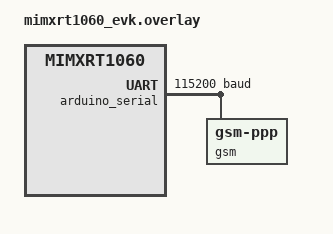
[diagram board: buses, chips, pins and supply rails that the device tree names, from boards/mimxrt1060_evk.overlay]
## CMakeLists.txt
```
#-------------------------------------------------------------------------------
# Zephyr Telemetry System Application
#
# Copyright (c) 2022-2024 Natalia Pluta
# SPDX-License-Identifier: Apache-2.0

cmake_minimum_required(VERSION 3.20.0)
find_package(Zephyr REQUIRED HINTS $ENV{ZEPHYR_BASE})

project(app LANGUAGES C VERSION 1.0.0)

set(BOARD_FLASH_RUNNER jlink)

configure_file(app_version.h.in ${CMAKE_BINARY_DIR}/app/include/app_version.h)
target_include_directories(app PRIVATE ${CMAKE_BINARY_DIR}/app/include src)

target_sources(app PRIVATE src/main.c
                           src/can_threads.c src/can_threads.h
                           src/sd_threads.c src/sd_threads.h
                           src/mqtt_threads.c src/mqtt_threads.h)
```

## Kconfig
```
# Private config options for telemetry-system app

# Copyright (c) 2022-2024 Natalia Pluta
# SPDX-License-Identifier: Apache-2.0

mainmenu "Telemetry System"

menu "MQTT Configuration"

config MQTT_MAX_ITERATIONS
	int "Number of times to Publish sample MQTT messages"
	default 500
	help
	  Send sample MQTT messages this many times in a MQTT connection
	  before exiting. A value of zero means that the messages are sent
	  forever.

config MQTT_MAX_CONNECTIONS
	int "Number of times to connect to the MQTT server"
	default 0
	help
	  Number of times to connect to the MQTT server. With each connection
	  send MQTT_MAX_ITERATIONS amount of MQTT sample messages.
	  A value of zero means to continue forever.

endmenu

source "Kconfig.zephyr"
```

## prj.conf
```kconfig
# Copyright (c) 2022-2024 Natalia Pluta
# SPDX-License-Identifier: Apache-2.0

CONFIG_LOG=y
CONFIG_LOG_BUFFER_SIZE=2048

CONFIG_POLL=y
CONFIG_CAN=y
CONFIG_CAN_INIT_PRIORITY=80
CONFIG_CAN_MAX_FILTER=5

CONFIG_GPIO=y
CONFIG_STATS=y
CONFIG_STATS_NAMES=y
CONFIG_STATS_SHELL=y
CONFIG_CAN_STATS=y

CONFIG_DISK_ACCESS=y
CONFIG_FILE_SYSTEM=y
CONFIG_FAT_FILESYSTEM_ELM=y
CONFIG_MAIN_STACK_SIZE=2048

# C Library
# Default use minimal libc and with COMMON_LIBC_MALLOC_ARENA_SIZE defining
# HEAP size (512 bytes) are enough to run DNS.
CONFIG_COMMON_LIBC_MALLOC_ARENA_SIZE=4096

# Networking config
CONFIG_NETWORKING=y
CONFIG_NET_SOCKETS=y
CONFIG_NET_TCP=y
CONFIG_NET_LOG=y

CONFIG_NET_IPV6_RA_RDNSS=y
CONFIG_NET_IF_UNICAST_IPV6_ADDR_COUNT=3
CONFIG_NET_IF_MCAST_IPV6_ADDR_COUNT=2

CONFIG_PRINTK=y
CONFIG_STDOUT_CONSOLE=y
CONFIG_POSIX_API=y

# Enable IPv6 support
CONFIG_NET_IPV6=n
# Enable IPv4 support
CONFIG_NET_IPV4=y

# Enable the MQTT Lib
CONFIG_MQTT_LIB=y

CONFIG_NET_CONFIG_SETTINGS=y
CONFIG_NET_CONFIG_MY_IPV6_ADDR="2001:db8::1"
CONFIG_NET_CONFIG_PEER_IPV6_ADDR="2001:db8::2"

CONFIG_NET_CONFIG_MY_IPV4_ADDR="192.168.0.23"
CONFIG_NET_CONFIG_PEER_IPV4_ADDR="192.168.0.14"

CONFIG_MAIN_STACK_SIZE=2048

# For IPv6
CONFIG_NET_BUF_DATA_SIZE=256

CONFIG_NET_SHELL=y

CONFIG_ENTROPY_GENERATOR=y
CONFIG_TEST_RANDOM_GENERATOR=y
```

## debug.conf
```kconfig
# Copyright (c) 2022-2024 Natalia Pluta
# SPDX-License-Identifier: Apache-2.0

# Private config which can be used to enable debug-related options 
# for telemetry-system app.

# compiler
CONFIG_DEBUG_OPTIMIZATIONS=y

# console
CONFIG_CONSOLE=y

# UART console
CONFIG_SERIAL=y
CONFIG_UART_CONSOLE=y

# logging
CONFIG_LOG=y
CONFIG_APP_LOG_LEVEL_DBG=y
```

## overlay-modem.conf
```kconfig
# Copyright (c) 2022-2024 Natalia Pluta
# SPDX-License-Identifier: Apache-2.0

# UART support
CONFIG_SERIAL=y

# GSM modem support
CONFIG_MODEM=y
CONFIG_MODEM_SHELL=y
CONFIG_MODEM_CMD_HANDLER_MAX_PARAM_COUNT=20
CONFIG_MODEM_GSM_PPP=y
CONFIG_MODEM_GSM_RX_STACK_SIZE=1024
CONFIG_MODEM_GSM_APN="internet"

# Network management events
CONFIG_NET_CONNECTION_MANAGER=y

# PPP networking support
CONFIG_NET_NATIVE=y
CONFIG_NET_DRIVERS=y
CONFIG_NET_PPP=y
CONFIG_NET_L2_PPP=y
CONFIG_NET_L2_PPP_TIMEOUT=10000

CONFIG_DNS_RESOLVER_MAX_SERVERS=1
CONFIG_DNS_SERVER_IP_ADDRESSES=y
CONFIG_DNS_SERVER1="8.8.8.8"
```

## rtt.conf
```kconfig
# Copyright (c) 2022-2024 Natalia Pluta
# SPDX-License-Identifier: Apache-2.0

# segger RTT console
CONFIG_USE_SEGGER_RTT=y
CONFIG_RTT_CONSOLE=y
```

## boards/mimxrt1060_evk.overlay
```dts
/*
 * Copyright (c) 2022-2023 Natalia Pluta
 *
 * SPDX-License-Identifier: Apache-2.0
 */

 &arduino_serial {
	status = "okay";
	current-speed = < 115200 >;

	gsm: gsm_mode {
		compatible = "zephyr,gsm-ppp";
	};
};

&enet{
	status = "disabled";
};
```

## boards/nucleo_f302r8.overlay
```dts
/*
 * Copyright (c) 2021 Nordic Semiconductor ASA
 * SPDX-License-Identifier: Apache-2.0
 */

/* This devicetree overlay file will be automatically picked by the Zephyr
 * build system when building the sample for the nucleo_f302r8 board. It shows
 * how the obd2-logger can be built on sample boards already provided
 * by Zephyr.
 */

/ {
	examplesensor0: examplesensor_0 {
		compatible = "zephyr,examplesensor";
		input-gpios = <&gpioc 13 (GPIO_PULL_UP | GPIO_ACTIVE_LOW)>;
	};
};

&gpioc {
	status = "okay";
};
```

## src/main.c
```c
/*
 * Copyright (c) 2022-2024 Natalia Pluta
 *
 * SPDX-License-Identifier: Apache-2.0
 */

/**
 * @file main.c
 * @brief Main function
 */

#include <stdio.h>
#include <zephyr/kernel.h>
#include <zephyr/device.h>
#include <zephyr/drivers/can.h>
#include "can_threads.h"
#include "sd_threads.h"
#include "mqtt_threads.h"

#define SLEEP_TIME K_MSEC(250)

extern const struct device *const can_dev;

int main(void)
{
    sd_disk_init();
    sd_threads_init();

    can_init(can_dev);
    can_threads_init();

    mqtt_threads_init();

    while (1)
    {
        k_sleep(SLEEP_TIME);
    }

    return 0;
}
```

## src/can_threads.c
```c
/*
 * Copyright (c) 2022-2024 Natalia Pluta
 *
 * SPDX-License-Identifier: Apache-2.0
 */

/**
 * @file can_threads.c
 * @brief Can related threads
 */
#include <zephyr/logging/log.h>
LOG_MODULE_REGISTER(can_threads, LOG_LEVEL_DBG);

#include <stdio.h>
#include <zephyr/kernel.h>
#include <zephyr/device.h>
#include <zephyr/drivers/can.h>
#include <zephyr/drivers/gpio.h>
#include <zephyr/sys/byteorder.h>

#include "can_threads.h"

#define CAN_THREAD_SLEEP_MS K_MSEC(200)

#define RX_THREAD_STACK_SIZE 512
#define RX_THREAD_PRIORITY   2

#define TX_THREAD_STACK_SIZE 512
#define TX_THREAD_PRIORITY   2

#define CAN_STATE_THREAD_STACK_SIZE 512
#define CAN_STATE_THREAD_PRIORITY   2

#define ALL_CAN_MSG_MASK 0x00
#define ALL_CAN_MSG_ID   0x00

#define SERVICE_RESPONE_OFFSET 0x40

#define BITRATE_125K        125000
#define SAMPLING_POINT_87_5 875

#define DATA_SUPPORTED_PIDS             6
#define TEST_RES_NON_CAN_SUPPORTED_PIDS 1
#define VEHICLE_INFO_SUPPORTED_PIDS     1
#define REQUEST_SUPPORTED_PIDS_ATTEMPTS 3

K_THREAD_STACK_DEFINE(rx_thread_stack, RX_THREAD_STACK_SIZE);
K_THREAD_STACK_DEFINE(tx_thread_stack, TX_THREAD_STACK_SIZE);
K_THREAD_STACK_DEFINE(can_state_stack, CAN_STATE_THREAD_STACK_SIZE);

struct k_thread rx_thread_data;
struct k_thread tx_thread_data;
struct k_thread can_state_thread_data;
struct k_work   state_change_work;
struct k_mutex  supp_pids_finished_mutex;

k_tid_t rx_tid;
k_tid_t tx_tid;
k_tid_t can_state_tid;

const struct device *const can_dev = DEVICE_DT_GET(DT_CHOSEN(zephyr_canbus));

enum can_state         current_state;
struct can_bus_err_cnt current_err_cnt;

bool m_rx_supported_pids_finished = false;
bool m_tx_supported_pids_finished = false;

CAN_MSGQ_DEFINE(can_msgq, 10);
extern struct k_msgq sd_msgq;

/**
 * It prints the contents of a CAN frame to the console
 *
 * @param frame The CAN frame to print
 */
void can_frame_print(struct can_frame *frame)
{
    LOG_INF("[CAN] [%03x] %02x %02x %02x %02x %02x %02x %02x %02x",
            frame->id,
            frame->data[0],
            frame->data[1],
            frame->data[2],
            frame->data[3],
            frame->data[4],
            frame->data[5],
            frame->data[6],
            frame->data[7]);
}

/**
 * It prints an error message
 * if the error code is not zero
 *
 * @param dev The device that triggered the callback.
 * @param error The error code.
 * @param arg A pointer to the argument passed to the callback function.
 */
void tx_irq_callback(const struct device *dev, int error, void *arg)
{
    char *sender = (char *)arg;

    ARG_UNUSED(dev);

    if (0 != error)
    {
        LOG_INF("Callback! error-code: %d\nSender: %s", error, sender);
    }
}

/**
 * It takes a state and returns a string representation of that state
 *
 * @param state The current state of the CAN controller.
 *
 * @return A string representation of the state.
 */
char *state_to_str(enum can_state state)
{
    switch (state)
    {
        case CAN_STATE_ERROR_ACTIVE:
            return "error-active";
        case CAN_STATE_ERROR_WARNING:
            return "error-warning";
        case CAN_STATE_ERROR_PASSIVE:
            return "error-passive";
        case CAN_STATE_BUS_OFF:
            return "bus-off";
        case CAN_STATE_STOPPED:
            return "stopped";
        default:
            return "unknown";
    }
}

/**
 * It waits for any meesage to be received, then it prints them and waits for
 * the next CAN frame
 *
 * @param arg1 CAN device
 * @param arg2 CAN device
 * @param arg3 The third argument to the thread.
 */
void rx_thread(void *arg1, void *arg2, void *arg3)
{
    LOG_INF("Initialization of rx_thread.");

    ARG_UNUSED(arg1);
    ARG_UNUSED(arg2);
    ARG_UNUSED(arg3);

    const struct can_filter filter
        = { .flags = 0U, .id = ALL_CAN_MSG_ID, .mask = ALL_CAN_MSG_MASK };

    struct can_frame frame;
    int              filter_id;

    filter_id = can_add_rx_filter_msgq(can_dev, &can_msgq, &filter);
    LOG_INF("Filter id: %d.", filter_id);

    int ret;
    (void)ret;

    while (1)
    {
        k_msgq_get(&can_msgq, &frame, K_FOREVER);
        while (k_msgq_put(&sd_msgq, &frame, K_NO_WAIT) != 0)
        {
            /* message queue is full: purge old data & try again */
            k_msgq_purge(&sd_msgq);
        }

        LOG_INF("Received message id = [%d].", frame.id);
        can_frame_print(&frame);
        k_sleep(CAN_THREAD_SLEEP_MS);
    }
}

/**
 * It sends requests for supported PIDs, waits for the responses, and then sends
 * requests for the supported PIDs
 *
 * @param arg1 Pointer to the first argument passed to the thread.
 * @param arg2 The CAN interface to use.
 * @param arg3 The third argument to the thread.
 */
void tx_thread(void *arg1, void *arg2, void *arg3)
{
    LOG_INF("Initialization of tx_thread.");

    ARG_UNUSED(arg1);
    ARG_UNUSED(arg2);
    ARG_UNUSED(arg3);

    int ret;
    (void)ret;

    struct can_frame frame = {
        .id   = 0x123,
        .dlc  = 8,
        .data = { 1, 2, 3, 4, 5, 6, 7, 8 },
    };

    while (1)
    {
        /* A variable that stores the return value of the function. */
        ret = can_send(can_dev, &frame, K_FOREVER, tx_irq_callback, NULL);
        if (ret != 0)
        {
            LOG_INF("Sending failed [%d].", ret);
        }
        else
        {
            LOG_INF("Message id = [%d] successfully sended.\n", frame.id);
        }

        k_sleep(CAN_THREAD_SLEEP_MS);
    }
}

/**
 * It prints the CAN controller state, the number of received and transmitted
 * errors
 *
 * @param unused1 The first parameter of the thread function.
 * @param unused2 The second parameter to the thread function.
 * @param unused3 This is the third parameter passed to the thread.
 */
void can_state_thread(void *unused1, void *unused2, void *unused3)
{
    LOG_INF("Initialization of can_state_thread.");

    struct can_bus_err_cnt err_cnt      = { 0, 0 };
    struct can_bus_err_cnt err_cnt_prev = { 0, 0 };
    enum can_state         state_prev   = CAN_STATE_ERROR_ACTIVE;
    enum can_state         state;
    int                    err;

    while (1)
    {
        err = can_get_state(can_dev, &state, &err_cnt);
        if (0 != err)
        {
            LOG_INF("Failed to get CAN controller state: %d", err);
            k_sleep(K_MSEC(100));
            continue;
        }

        if (err_cnt.tx_err_cnt != err_cnt_prev.tx_err_cnt
            || err_cnt.rx_err_cnt != err_cnt_prev.rx_err_cnt
            || state_prev != state)
        {

            err_cnt_prev.tx_err_cnt = err_cnt.tx_err_cnt;
            err_cnt_prev.rx_err_cnt = err_cnt.rx_err_cnt;
            state_prev              = state;
            LOG_INF(
                "state: %s"
                "rx error count: %d"
                "tx error count: %d",
                state_to_str(state),
                err_cnt.rx_err_cnt,
                err_cnt.tx_err_cnt);
        }
        else
        {
            k_sleep(K_MSEC(100));
        }
    }
}

/**
 * It prints the current state of the CAN controller.
 * If the controller is in the bus-off state and
 * CONFIG_CAN_MANUAL_RECOVERY_MODE=y, it attempts to recover from it.
 *
 * @param work The work item to be executed.
 */
void state_change_work_handler(struct k_work *work)
{
    LOG_INF(
        "State Change ISR\nstate: %s"
        "rx error count: %d"
        "tx error count: %d",
        state_to_str(current_state),
        current_err_cnt.rx_err_cnt,
        current_err_cnt.tx_err_cnt);

#ifdef CONFIG_CAN_MANUAL_RECOVERY_MODE
    if (current_state == CAN_STATE_BUS_OFF)
    {
        LOG_INF("Recover from bus-off");

        if (can_recover(can_dev, K_MSEC(100)) != 0)
        {
            LOG_INF("Recovery timed out");
        }
    }
#endif /* CONFIG_CAN_MANUAL_RECOVERY_MODE */
}

/**
 * It's a callback function that gets called when the CAN state changes
 *
 * @param dev The device that triggered the callback.
 * @param state The current state of the CAN controller.
 * @param err_cnt A struct containing the current error counters for the CAN
 * bus.
 * @param user_data A pointer to the work object that will be submitted to the
 * work queue.
 */
void state_change_callback(const struct device   *dev,
                           enum can_state         state,
                           struct can_bus_err_cnt err_cnt,
                           void                  *user_data)
{
    struct k_work *work = (struct k_work *)user_data;

    ARG_UNUSED(dev);

    current_state   = state;
    current_err_cnt = err_cnt;
    k_work_submit(work);
}

/**
 * It initializes the CAN controller
 *
 * @param can_dev The device structure of the CAN controller.
 *
 * @return The return value is the error code.
 */
void can_init(const struct device *can_dev)
{
    int ret;
    (void)ret;
    struct can_timing timing;

    ret = device_is_ready(can_dev);
    if (false == ret)
    {
        LOG_INF("CAN: Device %s not ready.", can_dev->name);
    }

    ret = can_calc_timing(can_dev, &timing, BITRATE_125K, SAMPLING_POINT_87_5);
    if (ret > 0)
    {
        LOG_INF("Sample-Point error: %d", ret);
    }

    if (ret < 0)
    {
        LOG_INF("Failed to calc a valid timing");
        return;
    }

    ret = can_set_timing(can_dev, &timing);
    if (0 != ret)
    {
        LOG_INF("Failed to set timing");
    }

    ret = can_set_mode(can_dev, CAN_MODE_NORMAL);
    if (0 != ret)
    {
        LOG_INF("Failed to set CAN controller operation service");
    }

    ret = can_start(can_dev);
    if (0 != ret)
    {
        LOG_INF("Failed to start CAN controller");
    }

    LOG_INF("CAN: Device %s initialization finished.", can_dev->name);
}

/**
 * It creates three threads, one for each of the three main tasks of the CAN
 * driver:
 *
 * * `can_state_thread`: This thread is responsible for monitoring the state of
 * the CAN driver and changing it as necessary.
 * * `rx_thread`: This thread is responsible for receiving CAN messages.
 * * `tx_thread`: This thread is responsible for transmitting CAN messages
 */
void can_threads_init(void)
{
    k_work_init(&state_change_work, state_change_work_handler);
    k_mutex_init(&supp_pids_finished_mutex);

    can_state_tid = k_thread_create(&can_state_thread_data,
                                    can_state_stack,
                                    K_THREAD_STACK_SIZEOF(can_state_stack),
                                    can_state_thread,
                                    NULL,
                                    NULL,
                                    NULL,
                                    CAN_STATE_THREAD_PRIORITY,
                                    0,
                                    K_NO_WAIT);
    if (!can_state_tid)
    {
        LOG_ERR("ERROR spawning can state thread.");
    }

    rx_tid = k_thread_create(&rx_thread_data,
                             rx_thread_stack,
                             K_THREAD_STACK_SIZEOF(rx_thread_stack),
                             rx_thread,
                             NULL,
                             NULL,
                             NULL,
                             RX_THREAD_PRIORITY,
                             0,
                             K_NO_WAIT);
    if (!rx_tid)
    {
        LOG_ERR("ERROR spawning rx thread");
    }

    tx_tid = k_thread_create(&tx_thread_data,
                             tx_thread_stack,
                             K_THREAD_STACK_SIZEOF(tx_thread_stack),
                             tx_thread,
                             NULL,
                             NULL,
                             NULL,
                             TX_THREAD_PRIORITY,
                             0,
                             K_NO_WAIT);
    if (!tx_tid)
    {
        LOG_ERR("ERROR spawning tx thread.");
    }

    can_set_state_change_callback(
        can_dev, state_change_callback, &state_change_work);
}
```

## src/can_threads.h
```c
/*
 * Copyright (c) 2022-2024 Natalia Pluta
 *
 * SPDX-License-Identifier: Apache-2.0
 */

#ifndef CAN_THREADS
#define CAN_THREADS

void can_init(const struct device *can_dev);
void can_threads_init(void);

#endif /* CAN_THREADS */
```

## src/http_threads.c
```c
/*
 * Copyright (c) 2020 Gerson Fernando Budke <nandojve@gmail.com>
 *
 * SPDX-License-Identifier: Apache-2.0
 */

#include <zephyr/logging/log.h>
LOG_MODULE_REGISTER(tagoio_http_post, LOG_LEVEL_DBG);

#include <stdio.h>
#include <zephyr/kernel.h>
#include <zephyr/net/socket.h>
#include <zephyr/net/http/client.h>
#include <zephyr/random/random.h>
#include <zephyr/drivers/can.h>

#include "sockets.h"

#define HTTP_POST_THREAD_STACK_SIZE 4096
#define HTTP_POST_THREAD_PRIORITY   1
#define SLEEP_TIME                  K_MSEC(10)

K_THREAD_STACK_DEFINE(http_post_stack, HTTP_POST_THREAD_STACK_SIZE);
struct k_thread http_post_data;
k_tid_t         http_post_tid;

static struct tagoio_context ctx;

static void response_cb(struct http_response * rsp,
                        enum http_final_call   final_data,
                        void *                 user_data)
{
    if (final_data == HTTP_DATA_MORE)
    {
        LOG_DBG("Partial data received (%zd bytes)", rsp->data_len);
    }
    else if (final_data == HTTP_DATA_FINAL)
    {
        LOG_DBG("All the data received (%zd bytes)", rsp->data_len);
    }

    LOG_DBG("Response status %s", rsp->http_status);
}

static int collect_data(void)
{
#define lower 20000
#define upper 100000
#define base  1000.00f

    float temp;

    /* Generate a temperature between 20 and 100 celsius degree */
    temp = ((sys_rand32_get() % (upper - lower + 1)) + lower);
    temp /= base;

    (void)snprintf(ctx.payload,
                   sizeof(ctx.payload),
                   "{\"variable\": \"temperature\","
                   "\"unit\": \"c\",\"value\": %f}",
                   (double)temp);

    /* LOG doesn't print float #18351 */
    LOG_INF("Temp: %d", (int)temp);

    return 0;
}

static void next_turn(void)
{
    if (collect_data() < 0)
    {
        LOG_INF("Error collecting data.");
        return;
    }

    if (tagoio_connect(&ctx) < 0)
    {
        LOG_INF("No connection available.");
        return;
    }

    if (tagoio_http_push(&ctx, response_cb) < 0)
    {
        LOG_INF("Error pushing data.");
        return;
    }
}

/**
 * It will run forever, sleeping for a while, and then calling the next_turn() function
 *
 * @param arg1 The first argument to pass to the thread.
 * @param arg2 the name of the thread
 * @param arg3 The third argument to the thread.
 */
void http_post_thread(void * arg1, void * arg2, void * arg3)
{
    LOG_INF("Initialization of http_post_thread.");

    ARG_UNUSED(arg1);
    ARG_UNUSED(arg2);
    ARG_UNUSED(arg3);

    int ret;
    (void)ret;

    while (true)
    {
        next_turn();
        k_sleep(K_MSEC(CONFIG_TAGOIO_HTTP_PUSH_INTERVAL));
    }
}

/**
 * It creates a thread that will be used to send data to the server
 */
void http_threads_init(void)
{
    http_post_tid = k_thread_create(&http_post_data,
                                    http_post_stack,
                                    K_THREAD_STACK_SIZEOF(http_post_stack),
                                    http_post_thread,
                                    NULL,
                                    NULL,
                                    NULL,
                                    HTTP_POST_THREAD_PRIORITY,
                                    0,
                                    K_NO_WAIT);
    if (!http_post_tid)
    {
        LOG_ERR("Failed spawning http post thread.");
    }
}
```

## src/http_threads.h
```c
#ifndef HTTP_THREADS_H
#define HTTP_THREADS_H

void http_threads_init(void);

#endif /* HTTP_THREADS_H */
```

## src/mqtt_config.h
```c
/*
 * Copyright (c) 2024 Natalia Pluta
 *
 * SPDX-License-Identifier: Apache-2.0
 */

#ifndef MQTT_CONFIG_H
#define MQTT_CONFIG_H

#ifndef __CONFIG_H__
#define __CONFIG_H__

#ifdef CONFIG_NET_CONFIG_SETTINGS
#ifdef CONFIG_NET_IPV6
#define ZEPHYR_ADDR CONFIG_NET_CONFIG_MY_IPV6_ADDR
#define SERVER_ADDR CONFIG_NET_CONFIG_PEER_IPV6_ADDR
#else
#define ZEPHYR_ADDR CONFIG_NET_CONFIG_MY_IPV4_ADDR
#define SERVER_ADDR CONFIG_NET_CONFIG_PEER_IPV4_ADDR
#endif
#else
#ifdef CONFIG_NET_IPV6
#define ZEPHYR_ADDR "2001:db8::1"
#define SERVER_ADDR "2001:db8::2"
#else
#define ZEPHYR_ADDR "192.168.1.101"
#define SERVER_ADDR "192.168.1.10"
#endif
#endif

#if defined(CONFIG_SOCKS)
#define SOCKS5_PROXY_ADDR SERVER_ADDR
#define SOCKS5_PROXY_PORT 1080
#endif

#ifdef CONFIG_MQTT_LIB_TLS
#ifdef CONFIG_MQTT_LIB_WEBSOCKET
#define SERVER_PORT 9001
#else
#define SERVER_PORT 8883
#endif /* CONFIG_MQTT_LIB_WEBSOCKET */
#else
#ifdef CONFIG_MQTT_LIB_WEBSOCKET
#define SERVER_PORT 9001
#else
#define SERVER_PORT 1883
#endif /* CONFIG_MQTT_LIB_WEBSOCKET */
#endif

#define MQTT_CONNECT_TIMEOUT_MS 2000
#define MQTT_SLEEP_MSECS        500

#define MQTT_CONNECT_TRIES 10

#define MQTT_MQTT_BUFFER_SIZE 128

#define MQTT_CLIENTID "zephyr_publisher"

/* Set the following to 1 to enable the Bluemix topic format */
#define MQTT_BLUEMIX_TOPIC 0

/* These are the parameters for the Bluemix topic format */
#if MQTT_BLUEMIX_TOPIC
#define BLUEMIX_DEVTYPE "sensor"
#define BLUEMIX_DEVID   "carbon"
#define BLUEMIX_EVENT   "status"
#define BLUEMIX_FORMAT  "json"
#endif

#endif

#endif /* MQTT_CONFIG_H */
```

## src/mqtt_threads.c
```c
/*
 * Copyright (c) 2024 Natalia Pluta
 *
 * SPDX-License-Identifier: Apache-2.0
 */

#include <zephyr/logging/log.h>
LOG_MODULE_REGISTER(net_mqtt_publisher_sample, LOG_LEVEL_DBG);

#include "mqtt_threads.h"
#include <zephyr/kernel.h>
#include <zephyr/net/mqtt.h>
#include <zephyr/net/socket.h>
#include <zephyr/random/random.h>

#include <errno.h>
#include <string.h>

#include "mqtt_config.h"

#if defined(CONFIG_USERSPACE)
#include <zephyr/app_memory/app_memdomain.h>
K_APPMEM_PARTITION_DEFINE(app_partition);
struct k_mem_domain app_domain;
#define MQTT_BMEM K_MQTT_BMEM(app_partition)
#define MQTT_DMEM K_MQTT_DMEM(app_partition)
#else
#define MQTT_BMEM
#define MQTT_DMEM
#endif

/* MQTT thread configuration */
#define MQTT_THREAD_SLEEP_MS   K_MSEC(5000)
#define MQTT_THREAD_STACK_SIZE 4096
#define MQTT_THREAD_PRIORITY   1

K_THREAD_STACK_DEFINE(mqtt_stack, MQTT_THREAD_STACK_SIZE);

struct k_thread mqtt_thread_data;
k_tid_t         mqtt_tid;

/* Buffers for MQTT client. */
static MQTT_BMEM uint8_t rx_buffer[MQTT_MQTT_BUFFER_SIZE];
static MQTT_BMEM uint8_t tx_buffer[MQTT_MQTT_BUFFER_SIZE];

#if defined(CONFIG_MQTT_LIB_WEBSOCKET)
/* Making RX buffer large enough that the full IPv6 packet can fit into it */
#define MQTT_LIB_WEBSOCKET_RECV_BUF_LEN 1280

/* Websocket needs temporary buffer to store partial packets */
static MQTT_BMEM uint8_t temp_ws_rx_buf[MQTT_LIB_WEBSOCKET_RECV_BUF_LEN];
#endif

/* The mqtt client struct */
static MQTT_BMEM struct mqtt_client client_ctx;

/* MQTT Broker details. */
static MQTT_BMEM struct sockaddr_storage broker;

#if defined(CONFIG_SOCKS)
static MQTT_BMEM struct sockaddr socks5_proxy;
#endif

static MQTT_BMEM struct pollfd fds[1];
static MQTT_BMEM int           nfds;

static MQTT_BMEM bool connected;

#if defined(CONFIG_MQTT_LIB_TLS)

#include "test_certs.h"

#define TLS_SNI_HOSTNAME "localhost"
#define MQTT_CA_CERT_TAG 1
#define MQTT_PSK_TAG     2

static MQTT_DMEM sec_tag_t m_sec_tags[] = {
#if defined(MBEDTLS_X509_CRT_PARSE_C) || defined(CONFIG_NET_SOCKETS_OFFLOAD)
    MQTT_CA_CERT_TAG,
#endif
#if defined(MBEDTLS_KEY_EXCHANGE_SOME_PSK_ENABLED)
    MQTT_PSK_TAG,
#endif
};

static int tls_init(void)
{
    int err = -EINVAL;

#if defined(MBEDTLS_X509_CRT_PARSE_C) || defined(CONFIG_NET_SOCKETS_OFFLOAD)
    err = tls_credential_add(MQTT_CA_CERT_TAG,
                             TLS_CREDENTIAL_CA_CERTIFICATE,
                             ca_certificate,
                             sizeof(ca_certificate));
    if (err < 0)
    {
        LOG_ERR("Failed to register public certificate: %d", err);
        return err;
    }
#endif

#if defined(MBEDTLS_KEY_EXCHANGE_SOME_PSK_ENABLED)
    err = tls_credential_add(
        MQTT_PSK_TAG, TLS_CREDENTIAL_PSK, client_psk, sizeof(client_psk));
    if (err < 0)
    {
        LOG_ERR("Failed to register PSK: %d", err);
        return err;
    }

    err = tls_credential_add(MQTT_PSK_TAG,
                             TLS_CREDENTIAL_PSK_ID,
                             client_psk_id,
                             sizeof(client_psk_id) - 1);
    if (err < 0)
    {
        LOG_ERR("Failed to register PSK ID: %d", err);
    }
#endif

    return err;
}

#endif /* CONFIG_MQTT_LIB_TLS */

static void prepare_fds(struct mqtt_client *client)
{
    if (client->transport.type == MQTT_TRANSPORT_NON_SECURE)
    {
        fds[0].fd = client->transport.tcp.sock;
    }
#if defined(CONFIG_MQTT_LIB_TLS)
    else if (client->transport.type == MQTT_TRANSPORT_SECURE)
    {
        fds[0].fd = client->transport.tls.sock;
    }
#endif

    fds[0].events = POLLIN;
    nfds          = 1;
}

static void clear_fds(void)
{
    nfds = 0;
}

static int wait(int timeout)
{
    int ret = 0;

    if (nfds > 0)
    {
        ret = poll(fds, nfds, timeout);
        if (ret < 0)
        {
            LOG_ERR("poll error: %d", errno);
        }
    }

    return ret;
}

void mqtt_evt_handler(struct mqtt_client *const client,
                      const struct mqtt_evt    *evt)
{
    int err;

    switch (evt->type)
    {
        case MQTT_EVT_CONNACK:
            if (evt->result != 0)
            {
                LOG_ERR("MQTT connect failed %d", evt->result);
                break;
            }

            connected = true;
            LOG_INF("MQTT client connected!");

            break;

        case MQTT_EVT_DISCONNECT:
            LOG_INF("MQTT client disconnected %d", evt->result);

            connected = false;
            clear_fds();

            break;

        case MQTT_EVT_PUBACK:
            if (evt->result != 0)
            {
                LOG_ERR("MQTT PUBACK error %d", evt->result);
                break;
            }

            LOG_INF("PUBACK packet id: %u", evt->param.puback.message_id);

            break;

        case MQTT_EVT_PUBREC:
            if (evt->result != 0)
            {
                LOG_ERR("MQTT PUBREC error %d", evt->result);
                break;
            }

            LOG_INF("PUBREC packet id: %u", evt->param.pubrec.message_id);

            const struct mqtt_pubrel_param rel_param
                = { .message_id = evt->param.pubrec.message_id };

            err = mqtt_publish_qos2_release(client, &rel_param);
            if (err != 0)
            {
                LOG_ERR("Failed to send MQTT PUBREL: %d", err);
            }

            break;

        case MQTT_EVT_PUBCOMP:
            if (evt->result != 0)
            {
                LOG_ERR("MQTT PUBCOMP error %d", evt->result);
                break;
            }

            LOG_INF("PUBCOMP packet id: %u", evt->param.pubcomp.message_id);

            break;

        case MQTT_EVT_PINGRESP:
            LOG_INF("PINGRESP packet");
            break;

        default:
            break;
    }
}

static char *get_mqtt_payload(enum mqtt_qos qos)
{
#if MQTT_BLUEMIX_TOPIC
    static MQTT_BMEM char payload[30];

    snprintk(payload, sizeof(payload), "{d:{temperature:%d}}", sys_rand8_get());
#else
    static MQTT_DMEM char payload[] = "DOORS:OPEN_QoSx";

    payload[strlen(payload) - 1] = '0' + qos;
#endif

    return payload;
}

static char *get_mqtt_topic(void)
{
#if MQTT_BLUEMIX_TOPIC
    return "iot-2/type/" BLUEMIX_DEVTYPE "/id/" BLUEMIX_DEVID
           "/evt/" BLUEMIX_EVENT "/fmt/" BLUEMIX_FORMAT;
#else
    return "sensors";
#endif
}

static int publish(struct mqtt_client *client, enum mqtt_qos qos)
{
    struct mqtt_publish_param param;

    param.message.topic.qos        = qos;
    param.message.topic.topic.utf8 = (uint8_t *)get_mqtt_topic();
    param.message.topic.topic.size = strlen(param.message.topic.topic.utf8);
    param.message.payload.data     = get_mqtt_payload(qos);
    param.message.payload.len      = strlen(param.message.payload.data);
    param.message_id               = sys_rand16_get();
    param.dup_flag                 = 0U;
    param.retain_flag              = 0U;

    return mqtt_publish(client, &param);
}

#define RC_STR(rc) ((rc) == 0 ? "OK" : "ERROR")

#define PRINT_RESULT(func, rc) LOG_INF("%s: %d <%s>", (func), rc, RC_STR(rc))

static void broker_init(void)
{
#if defined(CONFIG_NET_IPV6)
    struct sockaddr_in6 *broker6 = (struct sockaddr_in6 *)&broker;

    broker6->sin6_family = AF_INET6;
    broker6->sin6_port   = htons(SERVER_PORT);
    inet_pton(AF_INET6, SERVER_ADDR, &broker6->sin6_addr);

#if defined(CONFIG_SOCKS)
    struct sockaddr_in6 *proxy6 = (struct sockaddr_in6 *)&socks5_proxy;

    proxy6->sin6_family = AF_INET6;
    proxy6->sin6_port   = htons(SOCKS5_PROXY_PORT);
    inet_pton(AF_INET6, SOCKS5_PROXY_ADDR, &proxy6->sin6_addr);
#endif
#else
    struct sockaddr_in *broker4 = (struct sockaddr_in *)&broker;

    broker4->sin_family = AF_INET;
    broker4->sin_port   = htons(SERVER_PORT);
    inet_pton(AF_INET, SERVER_ADDR, &broker4->sin_addr);
#if defined(CONFIG_SOCKS)
    struct sockaddr_in *proxy4 = (struct sockaddr_in *)&socks5_proxy;

    proxy4->sin_family = AF_INET;
    proxy4->sin_port   = htons(SOCKS5_PROXY_PORT);
    inet_pton(AF_INET, SOCKS5_PROXY_ADDR, &proxy4->sin_addr);
#endif
#endif
    // Print broker server address
    LOG_INF("Broker server address: %s", SERVER_ADDR);
}

static void client_init(struct mqtt_client *client)
{
    mqtt_client_init(client);

    broker_init();

    /* MQTT client configuration */
    client->broker           = &broker;
    client->evt_cb           = mqtt_evt_handler;
    client->client_id.utf8   = (uint8_t *)MQTT_CLIENTID;
    client->client_id.size   = strlen(MQTT_CLIENTID);
    client->password         = NULL;
    client->user_name        = NULL;
    client->protocol_version = MQTT_VERSION_3_1_1;

    /* MQTT buffers configuration */
    client->rx_buf      = rx_buffer;
    client->rx_buf_size = sizeof(rx_buffer);
    client->tx_buf      = tx_buffer;
    client->tx_buf_size = sizeof(tx_buffer);

    /* MQTT transport configuration */
#if defined(CONFIG_MQTT_LIB_TLS)
#if defined(CONFIG_MQTT_LIB_WEBSOCKET)
    client->transport.type = MQTT_TRANSPORT_SECURE_WEBSOCKET;
#else
    client->transport.type = MQTT_TRANSPORT_SECURE;
#endif

    struct mqtt_sec_config *tls_config = &client->transport.tls.config;

    tls_config->peer_verify   = TLS_PEER_VERIFY_REQUIRED;
    tls_config->cipher_list   = NULL;
    tls_config->sec_tag_list  = m_sec_tags;
    tls_config->sec_tag_count = ARRAY_SIZE(m_sec_tags);
#if defined(MBEDTLS_X509_CRT_PARSE_C) || defined(CONFIG_NET_SOCKETS_OFFLOAD)
    tls_config->hostname = TLS_SNI_HOSTNAME;
#else
    tls_config->hostname = NULL;
#endif

#else
#if defined(CONFIG_MQTT_LIB_WEBSOCKET)
    client->transport.type = MQTT_TRANSPORT_NON_SECURE_WEBSOCKET;
#else
    client->transport.type = MQTT_TRANSPORT_NON_SECURE;
#endif
#endif

#if defined(CONFIG_MQTT_LIB_WEBSOCKET)
    client->transport.websocket.config.host        = SERVER_ADDR;
    client->transport.websocket.config.url         = "/mqtt";
    client->transport.websocket.config.tmp_buf     = temp_ws_rx_buf;
    client->transport.websocket.config.tmp_buf_len = sizeof(temp_ws_rx_buf);
    client->transport.websocket.timeout            = 5 * MSEC_PER_SEC;
#endif

#if defined(CONFIG_SOCKS)
    mqtt_client_set_proxy(client,
                          &socks5_proxy,
                          socks5_proxy.sa_family == AF_INET
                              ? sizeof(struct sockaddr_in)
                              : sizeof(struct sockaddr_in6));
#endif
}

/* In this routine we block until the connected variable is 1 */
static int try_to_connect(struct mqtt_client *client)
{
    int rc, i = 0;

    while (i++ < MQTT_CONNECT_TRIES && !connected)
    {

        client_init(client);

        rc = mqtt_connect(client);
        if (rc != 0)
        {
            PRINT_RESULT("mqtt_connect", rc);
            k_sleep(K_MSEC(MQTT_SLEEP_MSECS));
            continue;
        }

        prepare_fds(client);

        if (wait(MQTT_CONNECT_TIMEOUT_MS))
        {
            mqtt_input(client);
        }

        if (!connected)
        {
            mqtt_abort(client);
        }
    }

    if (connected)
    {
        return 0;
    }

    return -EINVAL;
}

static int process_mqtt_and_sleep(struct mqtt_client *client, int timeout)
{
    int64_t remaining  = timeout;
    int64_t start_time = k_uptime_get();
    int     rc;

    while (remaining > 0 && connected)
    {
        if (wait(remaining))
        {
            rc = mqtt_input(client);
            if (rc != 0)
            {
                PRINT_RESULT("mqtt_input", rc);
                return rc;
            }
        }

        rc = mqtt_live(client);
        if (rc != 0 && rc != -EAGAIN)
        {
            PRINT_RESULT("mqtt_live", rc);
            return rc;
        }
        else if (rc == 0)
        {
            rc = mqtt_input(client);
            if (rc != 0)
            {
                PRINT_RESULT("mqtt_input", rc);
                return rc;
            }
        }

        remaining = timeout + start_time - k_uptime_get();
    }

    return 0;
}

#define SUCCESS_OR_EXIT(rc) \
    {                       \
        if (rc != 0)        \
        {                   \
            return 1;       \
        }                   \
    }
#define SUCCESS_OR_BREAK(rc) \
    {                        \
        if (rc != 0)         \
        {                    \
            break;           \
        }                    \
    }

static int publisher(void)
{
    int i, rc, r = 0;

    LOG_INF("attempting to connect: ");
    rc = try_to_connect(&client_ctx);
    PRINT_RESULT("try_to_connect", rc);
    SUCCESS_OR_EXIT(rc);

    i = 0;
    while (i++ < CONFIG_MQTT_MAX_ITERATIONS && connected)
    {
        r = -1;

        rc = mqtt_ping(&client_ctx);
        PRINT_RESULT("mqtt_ping", rc);
        SUCCESS_OR_BREAK(rc);

        rc = process_mqtt_and_sleep(&client_ctx, MQTT_SLEEP_MSECS);
        SUCCESS_OR_BREAK(rc);

        rc = publish(&client_ctx, MQTT_QOS_0_AT_MOST_ONCE);
        PRINT_RESULT("mqtt_publish", rc);
        SUCCESS_OR_BREAK(rc);

        rc = process_mqtt_and_sleep(&client_ctx, MQTT_SLEEP_MSECS);
        SUCCESS_OR_BREAK(rc);

        rc = publish(&client_ctx, MQTT_QOS_1_AT_LEAST_ONCE);
        PRINT_RESULT("mqtt_publish", rc);
        SUCCESS_OR_BREAK(rc);

        rc = process_mqtt_and_sleep(&client_ctx, MQTT_SLEEP_MSECS);
        SUCCESS_OR_BREAK(rc);

        rc = publish(&client_ctx, MQTT_QOS_2_EXACTLY_ONCE);
        PRINT_RESULT("mqtt_publish", rc);
        SUCCESS_OR_BREAK(rc);

        rc = process_mqtt_and_sleep(&client_ctx, MQTT_SLEEP_MSECS);
        SUCCESS_OR_BREAK(rc);

        r = 0;
    }

    rc = mqtt_disconnect(&client_ctx);
    PRINT_RESULT("mqtt_disconnect", rc);

    LOG_INF("Bye!");

    return r;
}

void mqtt_thread(void *arg1, void *arg2, void *arg3)
{
    LOG_INF("Initialization of mqtt_thread.");

    ARG_UNUSED(arg1);
    ARG_UNUSED(arg2);
    ARG_UNUSED(arg3);

    int r = 0, i = 0;

    while (!CONFIG_MQTT_MAX_CONNECTIONS || i++ < CONFIG_MQTT_MAX_CONNECTIONS)
    {
        r = publisher();

        if (!CONFIG_MQTT_MAX_CONNECTIONS)
        {
            k_sleep(MQTT_THREAD_SLEEP_MS);
        }
    }

    return;
}

void mqtt_threads_init(void)
{
    mqtt_tid = k_thread_create(&mqtt_thread_data,
                               mqtt_stack,
                               K_THREAD_STACK_SIZEOF(mqtt_stack),
                               mqtt_thread,
                               NULL,
                               NULL,
                               NULL,
                               MQTT_THREAD_PRIORITY,
                               0,
                               K_NO_WAIT);

    if (!mqtt_tid)
    {
        LOG_ERR("Failed to create mqtt_thread");
    }
}
```

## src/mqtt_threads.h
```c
/*
 * Copyright (c) 2024 Natalia Pluta
 *
 * SPDX-License-Identifier: Apache-2.0
 */

#ifndef MQTT_THREADS_H
#define MQTT_THREADS_H

void mqtt_threads_init(void);

#endif /* MQTT_THREADS_H */
```

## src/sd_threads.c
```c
/*
 * Copyright (c) 2022-2024 Natalia Pluta
 *
 * SPDX-License-Identifier: Apache-2.0
 */

/**
 * @file sd_threads.c
 * @brief SD card logging related threads
 */

#include <stdio.h>
#include <zephyr/kernel.h>
#include <zephyr/device.h>
#include <zephyr/drivers/can.h>

#include <zephyr/storage/disk_access.h>
#include <zephyr/logging/log.h>
#include <zephyr/fs/fs.h>
#include <ff.h>

#include "sd_threads.h"

#define SD_LOGGING_THREAD_STACK_SIZE 2048
#define SD_LOGGING_THREAD_PRIORITY   2
#define SD_THREAD_SLEEP_MS           K_MSEC(50)

#define SD_LOGS 100

#define FATFS_MNTP "/SD:"
#define FILE       FATFS_MNTP "/test.txt"
#define DIR        FATFS_MNTP "/testdir"
#define DIR_FILE   FATFS_MNTP "/testdir/testfile.txt"

LOG_MODULE_REGISTER(sd_logging, LOG_LEVEL_DBG);

typedef enum
{
    SD_LOGGING_DATA,
    SD_CLOSING_FILE,
    SD_UNMOUNTED,
} sd_state_t;

static struct fs_dir_t  dirp;
static struct fs_file_t filep;
static FATFS            fat_fs;

static struct fs_mount_t fatfs_mount = {
    .type      = FS_FATFS,
    .mnt_point = FATFS_MNTP,
    .fs_data   = &fat_fs,
};

void   sd_file_create(void);
void   sd_file_write(char *p_string_data, size_t string_size);
void   sd_file_save(void);
size_t can_string_frame_create(struct can_frame *frame, char *p_string_data);
static void lsdir(const char *path);

static const char *disk_mount_pt = FATFS_MNTP;

K_THREAD_STACK_DEFINE(sd_logging_stack, SD_LOGGING_THREAD_STACK_SIZE);
struct k_thread sd_logging_data;
k_tid_t         sd_logging_tid;

CAN_MSGQ_DEFINE(sd_msgq, 10);
extern void can_frame_print(struct can_frame *frame);

/**
 * It initializes the SD card
 */
void sd_disk_init(void)
{
    /* raw disk i/o */
    do
    {
        static const char *disk_pdrv = "SD";
        uint64_t           memory_size_mb;
        uint32_t           block_count;
        uint32_t           block_size;

        if (disk_access_init(disk_pdrv) != 0)
        {
            LOG_ERR("Storage init ERROR!.");
            break;
        }

        if (disk_access_ioctl(
                disk_pdrv, DISK_IOCTL_GET_SECTOR_COUNT, &block_count))
        {
            LOG_ERR("Unable to get sector count.");
            break;
        }
        LOG_INF("Block count %u.", block_count);

        if (disk_access_ioctl(
                disk_pdrv, DISK_IOCTL_GET_SECTOR_SIZE, &block_size))
        {
            LOG_ERR("Unable to get sector size.");
            break;
        }
        LOG_INF("Sector size %u", block_size);

        memory_size_mb = (uint64_t)block_count * block_size;
        LOG_INF("Memory Size(MB) %u.\n", (uint32_t)(memory_size_mb >> 20));
    } while (0);
}

/**
 * It creates a file, writes the received CAN frames to it, and closes the file
 *
 * @param arg1 The first argument to pass to the thread.
 * @param arg2 The size of the message queue.
 * @param arg3 The third argument to the thread.
 */
void sd_logging_thread(void *arg1, void *arg2, void *arg3)
{
    LOG_INF("Initialization of sd_logging_thread.");

    ARG_UNUSED(arg1);
    ARG_UNUSED(arg2);
    ARG_UNUSED(arg3);

    sd_file_create();

    struct can_frame frame;
    sd_state_t       sd_state          = SD_LOGGING_DATA;
    uint16_t         sd_log_idx        = 0;
    char            *p_can_string_data = NULL;

    while (1)
    {
        k_msgq_get(&sd_msgq, &frame, K_FOREVER);
        printf("[SD] RECEIVED:\n");
        can_frame_print(&frame);

        switch (sd_state)
        {
            case SD_LOGGING_DATA:
                if (sd_log_idx < SD_LOGS)
                {
                    size_t can_string_size
                        = can_string_frame_create(&frame, p_can_string_data);
                    sd_file_write(p_can_string_data, can_string_size);
                    sd_log_idx++;
                }
                else
                {
                    sd_state = SD_CLOSING_FILE;
                }
                break;

            case SD_CLOSING_FILE:
                sd_file_save();
                sd_state = SD_UNMOUNTED;
                break;

            case SD_UNMOUNTED:
                break;

            default:
                break;
        }
        k_sleep(SD_THREAD_SLEEP_MS);
    }
}

/**
 * It creates a thread that will be used to log data to the SD card
 */
void sd_threads_init(void)
{
    sd_logging_tid = k_thread_create(&sd_logging_data,
                                     sd_logging_stack,
                                     K_THREAD_STACK_SIZEOF(sd_logging_stack),
                                     sd_logging_thread,
                                     NULL,
                                     NULL,
                                     NULL,
                                     SD_LOGGING_THREAD_PRIORITY,
                                     0,
                                     K_NO_WAIT);
    if (!sd_logging_tid)
    {
        LOG_ERR("Failed spawning can state thread.");
    }
}

/**
 * It mounts the file system and creates a file
 */
void sd_file_create(void)
{
    int ret;
    (void)ret;

    fatfs_mount.mnt_point = disk_mount_pt;

    ret = fs_mount(&fatfs_mount);
    if (0 != ret)
    {
        LOG_ERR("Failed to mount file system.\n");
    }
    else
    {
        LOG_INF("Mounted file system.\n");
    }

    struct fs_statvfs stat;

    /* Verify fs_statvfs() */
    ret = fs_statvfs(FATFS_MNTP, &stat);
    if (0 != ret)
    {
        LOG_ERR("Error getting volume stats [%d].", ret);
    }

    LOG_INF("Optimal transfer block size   = %lu.", stat.f_bsize);
    LOG_INF("Allocation unit size          = %lu.", stat.f_frsize);
    LOG_INF("Volume size in f_frsize units = %lu.", stat.f_blocks);
    LOG_INF("Free space in f_frsize units  = %lu.\n", stat.f_bfree);

    fs_dir_t_init(&dirp);

    /* Verify fs_opendir() */
    ret = fs_opendir(&dirp, fatfs_mount.mnt_point);
    if (0 != ret)
    {
        LOG_ERR("Failed to open dir %s [%d].", fatfs_mount.mnt_point, ret);
    }
    else
    {
        LOG_INF("Opened dir %s.", fatfs_mount.mnt_point);
    }

    lsdir(disk_mount_pt);

    fs_file_t_init(&filep);

    ret = fs_open(&filep, FILE, FS_O_RDWR | FS_O_CREATE);
    if (0 != ret)
    {
        LOG_ERR("Failed to open file: %s.\n", FILE);
    }
    else
    {
        LOG_INF("Opened file %s.\n", FILE);
    }

    ret = fs_seek(&filep, 0, FS_SEEK_SET);
    if (ret)
    {
        LOG_ERR("fs_seek failed [%d]", ret);
        fs_close(&filep);
    }
}

/**
 * It writes the data to the file
 *
 * @param p_string_data The data to be written to the file.
 * @param string_size The size of the string to be written to the file.
 */
void sd_file_write(char *p_string_data, size_t string_size)
{
    int ret;
    (void)ret;
    ssize_t brw;

    ret = fs_seek(&filep, 0, FS_SEEK_CUR);
    if (ret)
    {
        LOG_ERR("fs_seek failed [%d]", ret);
        fs_close(&filep);
    }

    // LOG_INF("Data written:\"%s\"", p_string_data);

    brw = fs_write(&filep, p_string_data, string_size);
    if (brw < 0)
    {
        LOG_ERR("Failed writing to file [%zd]", brw);
    }

    if (brw < string_size)
    {
        LOG_ERR("Unable to complete write. Volume full.");
        LOG_INF("Number of bytes written: [%zd].", brw);
    }
}

/**
 * It takes a CAN frame and a string buffer, and it writes the CAN frame to the
 * string buffer in a human readable format
 *
 * @param frame The CAN frame to be converted to a string.
 * @param p_string_data A pointer to the string buffer where the data will be
 * stored.
 *
 * @return The number of characters written to the string.
 */
size_t can_string_frame_create(struct can_frame *frame, char *p_string_data)
{
    size_t char_nums
        = sprintf(p_string_data,
                  "%03x, %02x %02x %02x %02x %02x %02x %02x %02x\n",
                  frame->id,
                  frame->data[0],
                  frame->data[1],
                  frame->data[2],
                  frame->data[3],
                  frame->data[4],
                  frame->data[5],
                  frame->data[6],
                  frame->data[7]);
    return char_nums;
}

/**
 * It opens a file, writes to it, syncs it, closes it, lists the directory,
 * closes the directory, and unmounts the file system
 */
void sd_file_save(void)
{
    int ret;
    (void)ret;
    ret = fs_sync(&filep);
    if (0 != ret)
    {
        LOG_ERR("Failed to sync file: %s.\n", FILE);
    }
    else
    {
        LOG_INF("Synced file %s.\n", FILE);
    }

    ret = fs_close(&filep);
    if (0 != ret)
    {
        LOG_ERR("Failed to close file: %s.", FILE);
    }
    else
    {
        LOG_INF("Closed file %s.", FILE);
    }

    lsdir(disk_mount_pt);

    ret = fs_closedir(&dirp);
    if (ret)
    {
        LOG_ERR("Failed to close dir %s [%d].", fatfs_mount.mnt_point, ret);
    }
    else
    {
        LOG_INF("Closed dir %s.", fatfs_mount.mnt_point);
    }

    ret = fs_unmount(&fatfs_mount);
    if (0 != ret)
    {
        LOG_ERR("Failed to unmount file system.");
    }
    else
    {
        LOG_INF("Unmounted file system.");
    }
}

/**
 * It opens a directory, reads its content and prints it to the console
 *
 * @param path The path to the directory to list.
 */
static void lsdir(const char *path)
{
    int                     ret;
    struct fs_dir_t         dirp;
    static struct fs_dirent entry;

    fs_dir_t_init(&dirp);

    /* Verify fs_opendir() */
    ret = fs_opendir(&dirp, path);
    if (ret)
    {
        LOG_ERR("Error opening dir %s [%d]\n", path, ret);
    }

    LOG_INF("Listing dir %s ...", path);
    for (;;)
    {
        /* Verify fs_readdir() */
        ret = fs_readdir(&dirp, &entry);

        /* entry.name[0] == 0 means end-of-dir */
        if (ret || entry.name[0] == 0)
        {
            break;
        }

        if (entry.type == FS_DIR_ENTRY_DIR)
        {
            LOG_INF("[DIR ] %s.", entry.name);
        }
        else
        {
            LOG_INF("[FILE] %s (size = %zu).", entry.name, entry.size);
        }
    }

    /* Verify fs_closedir() */
    fs_closedir(&dirp);
}
```

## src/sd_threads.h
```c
/*
 * Copyright (c) 2022-2024 Natalia Pluta
 *
 * SPDX-License-Identifier: Apache-2.0
 */

#ifndef SD_THREADS
#define SD_THREADS

void sd_disk_init(void);
void sd_threads_init(void);

#endif /* SD_THREADS */
```

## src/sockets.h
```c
/*
 * Copyright (c) 2020 Gerson Fernando Budke <nandojve@gmail.com>
 *
 * SPDX-License-Identifier: Apache-2.0
 */

#ifndef SOCKETS_H
#define SOCKETS_H

#define TAGOIO_SOCKET_MAX_BUF_LEN 1280

struct tagoio_context
{
    int     sock;
    uint8_t payload[TAGOIO_SOCKET_MAX_BUF_LEN];
    uint8_t resp[TAGOIO_SOCKET_MAX_BUF_LEN];
};

int tagoio_connect(struct tagoio_context * ctx);
int tagoio_http_push(struct tagoio_context * ctx, http_response_cb_t resp_cb);

#endif /* SOCKETS_H */
```
